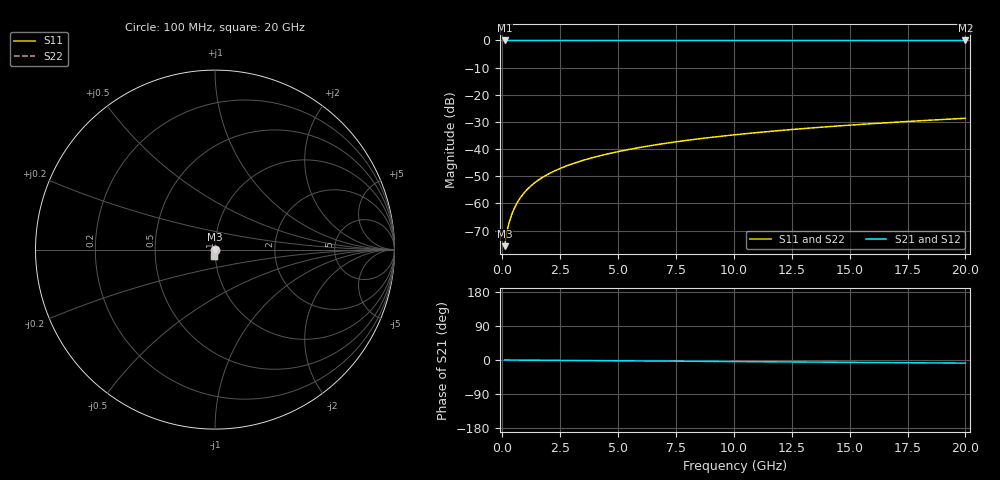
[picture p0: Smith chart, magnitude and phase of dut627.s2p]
! Touchstone file exported from HFSS 2026.1.0
!  File:  C:/ffzhzh/LocalFiles/Ansys_Project_Files/temp_train_TSV_627_1783026128_46388.aedt
!  Generated:  05:03:38 AM Jul  3, 2026
!  Design:  TSV
!  Project:  temp_train_TSV_627_1783026128_46388
! Variables:
!  h_bsmrdl = 2um
!  h_ox = 20um
!  h_rdl = 5um
!  h_sub = 81.2um
!  h_tmrdl = 5um
!  h_tsv = 81.2um
!  h_via = 3um
!  l_bsmrdl = 300um
!  l_sub = 427.8um
!  l_tmrdl = 200um
!  m_sub = 200um
!  pitch = 43.86um
!  r_tsv = 13.9um
!  s_tmrdl = 10um
!  w_bsmrdl = 18um
!  w_sub = 500um
!  w_tmrdl = 12um
!  x_tsv_center1 = 206um
!  x_tsv_center2 = 524um
!  x_tsv_center3 = 736um
!  x_tsv_center4 = 1054um
!  x_tsv_center5 = 1266um
!  x_tsv_center6 = 1584um
# GHz S MA R 50.000000
! Terminal data exported
! Port[1] = TSV1_1_T1
! Port[2] = TSV1_1_T2
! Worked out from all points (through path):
!   200 points, 100 MHz to 20 GHz, reference 50 ohm
!   highest |S21| = 0.00 dB at 100 MHz (marker M1); lowest = 0.0 dB at 20 GHz (marker M2)
!   group delay of S21, straight-line fit = 1.14 ps
!   lowest |S11| = -75.8 dB at 100 MHz (marker M3), VSWR 1.00, Z = 50 - j0.014 ohm
!   |S11| at or under -10 dB: start of sweep to end of sweep
!   |S22| runs from -75.8 to -28.7 dB; largest |S21 - S12| = 3.1e-15
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0.1  0.0001631 -59.3  0.9999 -0.0  0.9999 -0.0  0.0001631 -59.3
! Gamma 0 0 0 0
! Port Impedance 50 0 50 0
0.2  0.000301 -71.1  0.9999 -0.1  0.9999 -0.1  0.000301 -71.1
0.3  0.0004519 -74.8  0.9999 -0.1  0.9999 -0.1  0.0004519 -74.8
0.4  0.000612 -76.5  0.9999 -0.2  0.9999 -0.2  0.000612 -76.5
0.5  0.0007793 -77.6  0.9998 -0.2  0.9998 -0.2  0.0007793 -77.6
0.7  0.001129 -79.3  0.9998 -0.3  0.9998 -0.3  0.001129 -79.3
0.8  0.001308 -80.0  0.9998 -0.3  0.9998 -0.3  0.001308 -80.0
1  0.00167 -81.2  0.9997 -0.4  0.9997 -0.4  0.00167 -81.2
1.2  0.002034 -82.2  0.9997 -0.5  0.9997 -0.5  0.002034 -82.2
1.4  0.002398 -83.1  0.9997 -0.6  0.9997 -0.6  0.002398 -83.1
1.7  0.002945 -84.1  0.9997 -0.7  0.9997 -0.7  0.002945 -84.1
2  0.003491 -84.9  0.9996 -0.8  0.9996 -0.8  0.003491 -84.9
2.7  0.004765 -86.2  0.9996 -1.1  0.9996 -1.1  0.004765 -86.2
3.5  0.006225 -87.2  0.9995 -1.5  0.9995 -1.5  0.006225 -87.2
4.2  0.007508 -87.9  0.9995 -1.7  0.9995 -1.7  0.007508 -87.9
5  0.00898 -88.6  0.9994 -2.1  0.9994 -2.1  0.00898 -88.6
6.8  0.01231 -89.8  0.9993 -2.8  0.9993 -2.8  0.01231 -89.8
8.3  0.0151 -90.7  0.9992 -3.4  0.9992 -3.4  0.0151 -90.7
10.1  0.01845 -91.7  0.999 -4.2  0.999 -4.2  0.01845 -91.7
13.4  0.0246 -93.4  0.9988 -5.5  0.9988 -5.5  0.0246 -93.4
16.7  0.03075 -95.0  0.9985 -6.9  0.9985 -6.9  0.03075 -95.0
20  0.03691 -96.5  0.9982 -8.2  0.9982 -8.2  0.03691 -96.5
